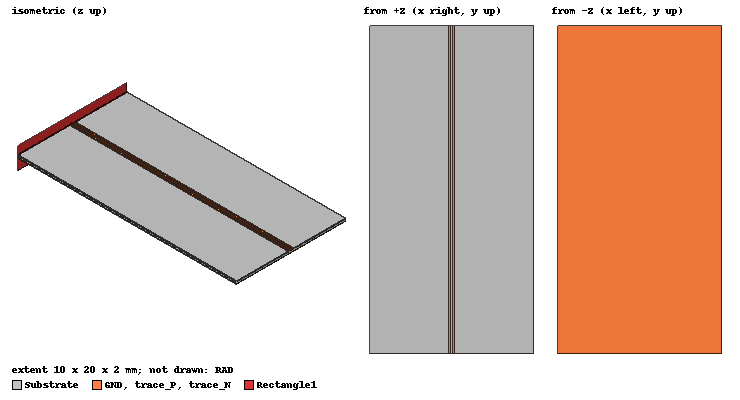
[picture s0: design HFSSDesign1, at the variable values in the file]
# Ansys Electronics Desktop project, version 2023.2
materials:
  vacuum: permittivity=1
  copper: permeability=0.999991 conductivity=58000000
  FR4_epoxy: permittivity=4.4 dielectric_loss_tangent=0.02

design HFSSDesign1 (HFSS, HFSS Modal Network, model units mm)
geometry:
  Substrate [FR4_epoxy] = box(corner=(5mm, 0mm, 0.032mm), size=(10mm, 20mm, 0.2mm))
  trace_P [copper] = box(corner=(9.935mm, 0mm, 0.232mm), size=(-0.14mm, 20mm, 0.055mm))
  RAD [vacuum] = box(corner=(5mm, 0mm, -2mm), size=(10mm, 20mm, 5mm))
  GND [copper] = box(corner=(15mm, 0mm, 0.032mm), size=(-10mm, 20mm, -0.032mm))
  trace_N [copper] = box(corner=(10.065mm, 0mm, 0.232mm), size=(0.14mm, 20mm, 0.055mm))
  Rectangle1 = rectangle(corner=(5mm, 0mm, -1mm), z_size=2mm, x_size=10mm)
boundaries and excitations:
  PerfE1: Perfect E Objects=trace_P
  Rad1: Radiation Objects=RAD
  PerfE2: Perfect E Objects=GND
  PerfE3: Perfect E Objects=trace_N
  1: Wave Port Objects=Rectangle1 WavePortType=Default NumModes=1 Modes{Mode1{IntLine{(9.865, 0, 0.287) -> (9.86, 0, 0)} CharImp=Zpi}}
  reference conductors: GND
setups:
  Setup1: HfssDrivenAuto AutoSolverSetting=Balanced SaveAnyFields=false Type=Interpolating
    sweep Sweep: 0GHz to 10GHz, 501 points;
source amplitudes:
  1:1: 1W 0deg
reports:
  Port Zo Plot 1: mag(Zo(1)) vs Freq on Setup1 : Sweep
